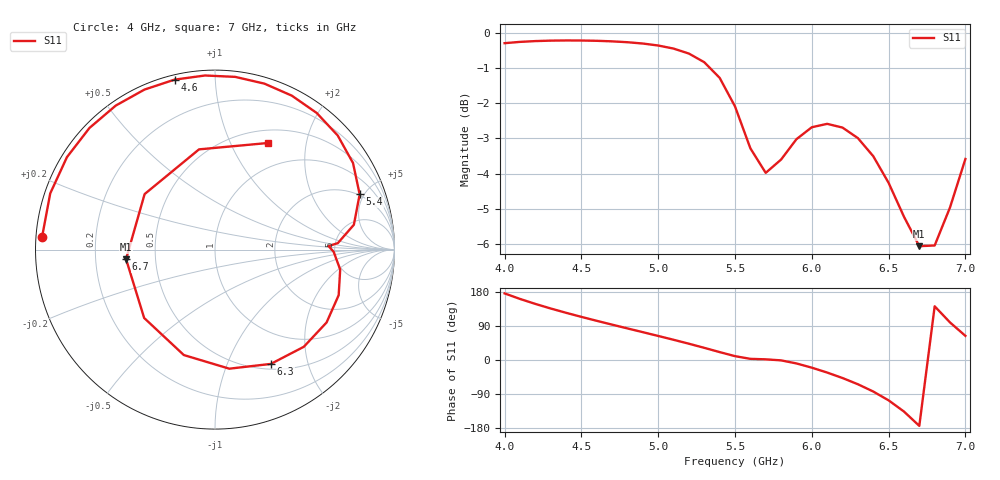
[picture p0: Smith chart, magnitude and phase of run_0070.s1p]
! Touchstone file exported from HFSS 2024.2.0
!  File:  C:/Users/wsak9/Desktop/Sim Fast/Widenad Patch/WP_AI_V1_sweep.aedt
!  Generated:  05:53:13 PM Oct 13, 2026
!  Design:  A1_model
!  Project:  WP_AI_V1_sweep
!  Setup:  Setup1
!  Solution:  Sweep
! Variables:
!  Air_gap = 3.46mm
!  Curve_Amp1 = 1.78
!  Curve_len1 = 1
!  Curve_pos = 10.045mm
!  Extra = 3.31mm
!  H_sub = 0.79mm
!  L_Patch = 16.09mm
!  L_Patch1 = 11.96mm
!  Sx = 3.89mm
!  Sy = 2.43mm
!  WS = 0.21mm
!  W_Patch = 17.52mm
!  W_Patch1 = 8.65mm
!Data is not renormalized
# GHz S MA
! Terminal data exported
! Port[1] = 1
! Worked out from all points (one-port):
!   31 points, 4 GHz to 7 GHz, reference per port
!   lowest |S11| = -6.1 dB at 6.7 GHz (marker M1), VSWR 2.99
!   |S11| at or under -10 dB: nowhere
!   S11 on the Smith chart (normalised r, x): 4 GHz: 0.02, +0.04; 4.6 GHz: 0.02, +0.79; 5.4 GHz: 1.93, +4.65; 6.3 GHz: 0.57, -1.45; 6.7 GHz: 0.34, -0.05; 7 GHz: 0.66, +1.39
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4  0.9659 175.8
4.1  0.9699 161.2
4.2  0.9725 148.0
4.3  0.9739 135.9
4.4  0.9745 124.6
4.5  0.9743 113.8
4.6  0.9734 103.4
4.8  0.9689 83.3
5  0.9585 63.5
5.2  0.9337 42.9
5.3  0.9077 32.1
5.4  0.8627 20.9
5.5  0.786 10.1
5.6  0.6856 3.0
5.7  0.6328 1.8
5.8  0.6609 -1.0
5.9  0.7063 -9.1
6  0.7343 -20.2
6.1  0.7425 -33.1
6.2  0.7335 -47.6
6.3  0.7088 -64.0
6.4  0.6682 -83.1
6.5  0.6126 -106.5
6.6  0.5486 -136.0
6.7  0.4983 -173.9
6.8  0.4994 141.7
6.9  0.5655 99.1
7  0.6621 63.7
